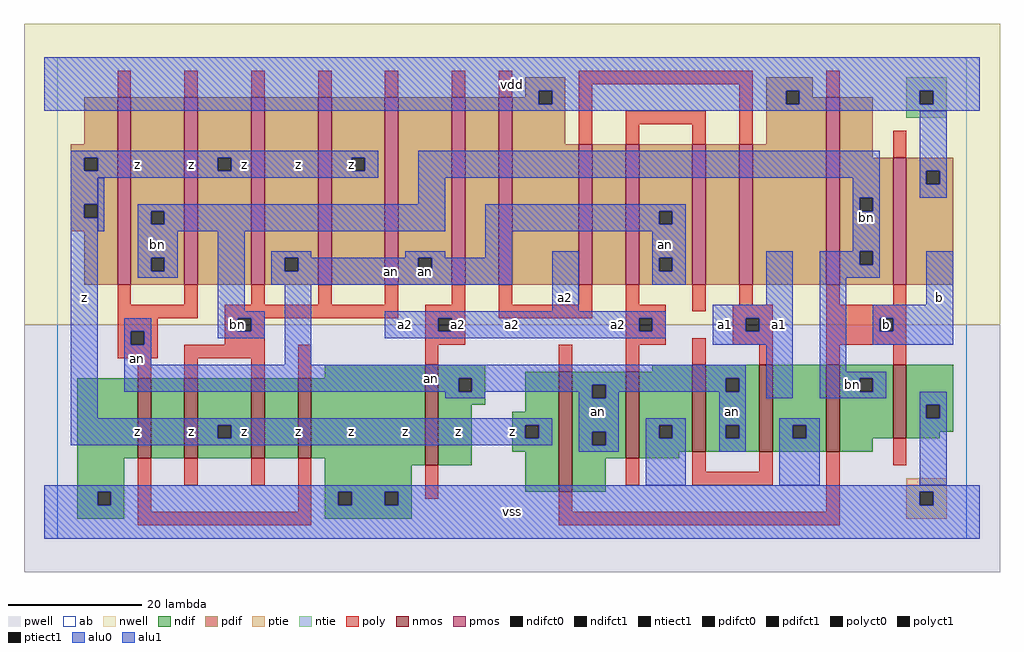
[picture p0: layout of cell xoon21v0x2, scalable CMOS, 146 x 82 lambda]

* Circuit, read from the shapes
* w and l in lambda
.subckt xoon21v0x2 a1 a2 an b bn vdd vss z
M1 n1 an vss vss nfet w=12 l=2
M2 z bn n1 vss nfet w=12 l=2
M3 n2 bn z vss nfet w=12 l=2
M4 vss an n2 vss nfet w=12 l=2
M5 an a2 vss vss nfet w=15 l=2
M6 an b z vss nfet w=18 l=2
M7 vss a2 an vss nfet w=13 l=2
M8 an a1 vss vss nfet w=13 l=2 m=2
M9 bn b vss vss nfet w=13 l=2
M10 vss b bn vss nfet w=11 l=2
M11 bn an z vdd pfet w=28 l=2 m=2
M12 an bn z vdd pfet w=28 l=2 m=3
M13 n3 a2 an vdd pfet w=28 l=2
M14 vdd a1 n3 vdd pfet w=28 l=2
M15 n4 a1 vdd vdd pfet w=21 l=2
M16 an a2 n4 vdd pfet w=21 l=2
M17 n5 a2 an vdd pfet w=21 l=2
M18 vdd a1 n5 vdd pfet w=21 l=2
M19 bn b vdd vdd pfet w=28 l=2
M20 vdd b bn vdd pfet w=19 l=2
.ends

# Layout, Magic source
magic
tech scmos
<< ab >>
rect 0 0 136 72
<< nwell >>
rect -5 32 141 77
<< pwell >>
rect -5 -5 141 32
<< poly >>
rect 9 66 11 70
rect 19 66 21 70
rect 29 66 31 70
rect 39 66 41 70
rect 49 66 51 70
rect 59 66 61 70
rect 66 66 68 70
rect 78 68 104 70
rect 78 59 80 68
rect 85 62 97 64
rect 85 59 87 62
rect 95 59 97 62
rect 102 59 104 68
rect 115 66 117 70
rect 125 57 127 61
rect 9 35 11 38
rect 19 35 21 38
rect 29 35 31 38
rect 39 35 41 38
rect 49 35 51 38
rect 59 35 61 38
rect 9 33 21 35
rect 25 33 51 35
rect 55 33 61 35
rect 66 35 68 38
rect 78 35 80 38
rect 66 33 80 35
rect 85 35 87 38
rect 85 33 91 35
rect 95 34 97 38
rect 102 35 104 38
rect 115 35 117 38
rect 125 35 127 38
rect 9 31 15 33
rect 9 29 11 31
rect 13 29 15 31
rect 25 31 27 33
rect 29 31 31 33
rect 25 29 31 31
rect 55 31 57 33
rect 59 31 61 33
rect 55 29 61 31
rect 85 31 87 33
rect 89 31 91 33
rect 85 29 91 31
rect 101 33 107 35
rect 101 31 103 33
rect 105 31 107 33
rect 9 27 15 29
rect 19 27 31 29
rect 12 24 14 27
rect 19 24 21 27
rect 29 24 31 27
rect 36 24 38 29
rect 55 26 57 29
rect 12 4 14 12
rect 19 8 21 12
rect 29 8 31 12
rect 36 4 38 12
rect 12 2 38 4
rect 75 25 77 29
rect 85 25 87 29
rect 95 26 97 30
rect 101 29 107 31
rect 105 26 107 29
rect 115 33 127 35
rect 115 31 123 33
rect 125 31 127 33
rect 115 29 127 31
rect 115 26 117 29
rect 125 26 127 29
rect 55 6 57 11
rect 85 8 87 12
rect 95 10 97 13
rect 105 10 107 13
rect 95 8 107 10
rect 75 4 77 7
rect 115 4 117 13
rect 125 11 127 15
rect 75 2 117 4
<< ndif >>
rect 40 24 55 26
rect 3 12 12 24
rect 14 12 19 24
rect 21 17 29 24
rect 21 15 24 17
rect 26 15 29 17
rect 21 12 29 15
rect 31 12 36 24
rect 38 12 55 24
rect 3 7 10 12
rect 3 5 6 7
rect 8 5 10 7
rect 3 3 10 5
rect 40 11 55 12
rect 57 24 64 26
rect 89 25 95 26
rect 57 22 60 24
rect 62 22 64 24
rect 57 20 64 22
rect 57 11 62 20
rect 70 19 75 25
rect 68 17 75 19
rect 68 15 70 17
rect 72 15 75 17
rect 68 13 75 15
rect 40 7 53 11
rect 40 5 42 7
rect 44 5 49 7
rect 51 5 53 7
rect 70 7 75 13
rect 77 23 85 25
rect 77 21 80 23
rect 82 21 85 23
rect 77 16 85 21
rect 77 14 80 16
rect 82 14 85 16
rect 77 12 85 14
rect 87 17 95 25
rect 87 15 90 17
rect 92 15 95 17
rect 87 13 95 15
rect 97 24 105 26
rect 97 22 100 24
rect 102 22 105 24
rect 97 17 105 22
rect 97 15 100 17
rect 102 15 105 17
rect 97 13 105 15
rect 107 17 115 26
rect 107 15 110 17
rect 112 15 115 17
rect 107 13 115 15
rect 117 24 125 26
rect 117 22 120 24
rect 122 22 125 24
rect 117 15 125 22
rect 127 20 134 26
rect 127 18 130 20
rect 132 18 134 20
rect 127 16 134 18
rect 127 15 132 16
rect 117 13 122 15
rect 87 12 93 13
rect 77 7 82 12
rect 40 3 53 5
<< pdif >>
rect 70 67 76 69
rect 70 66 72 67
rect 4 59 9 66
rect 2 57 9 59
rect 2 55 4 57
rect 6 55 9 57
rect 2 50 9 55
rect 2 48 4 50
rect 6 48 9 50
rect 2 46 9 48
rect 4 38 9 46
rect 11 49 19 66
rect 11 47 14 49
rect 16 47 19 49
rect 11 42 19 47
rect 11 40 14 42
rect 16 40 19 42
rect 11 38 19 40
rect 21 57 29 66
rect 21 55 24 57
rect 26 55 29 57
rect 21 38 29 55
rect 31 42 39 66
rect 31 40 34 42
rect 36 40 39 42
rect 31 38 39 40
rect 41 57 49 66
rect 41 55 44 57
rect 46 55 49 57
rect 41 38 49 55
rect 51 42 59 66
rect 51 40 54 42
rect 56 40 59 42
rect 51 38 59 40
rect 61 38 66 66
rect 68 65 72 66
rect 74 65 76 67
rect 68 59 76 65
rect 106 67 113 69
rect 106 65 109 67
rect 111 66 113 67
rect 111 65 115 66
rect 106 59 115 65
rect 68 38 78 59
rect 80 38 85 59
rect 87 49 95 59
rect 87 47 90 49
rect 92 47 95 49
rect 87 42 95 47
rect 87 40 90 42
rect 92 40 95 42
rect 87 38 95 40
rect 97 38 102 59
rect 104 38 115 59
rect 117 57 122 66
rect 117 51 125 57
rect 117 49 120 51
rect 122 49 125 51
rect 117 43 125 49
rect 117 41 120 43
rect 122 41 125 43
rect 117 38 125 41
rect 127 55 134 57
rect 127 53 130 55
rect 132 53 134 55
rect 127 38 134 53
<< alu1 >>
rect -2 67 138 72
rect -2 65 72 67
rect 74 65 109 67
rect 111 65 129 67
rect 131 65 138 67
rect -2 64 138 65
rect 2 57 48 58
rect 2 55 4 57
rect 6 55 24 57
rect 26 55 44 57
rect 46 55 48 57
rect 2 54 48 55
rect 2 50 6 54
rect 2 48 4 50
rect 2 18 6 48
rect 74 34 78 43
rect 106 35 110 43
rect 49 33 91 34
rect 49 31 57 33
rect 59 31 87 33
rect 89 31 91 33
rect 49 30 91 31
rect 98 33 110 35
rect 98 31 103 33
rect 105 31 110 33
rect 98 29 110 31
rect 2 17 74 18
rect 2 15 24 17
rect 26 15 70 17
rect 72 15 74 17
rect 2 14 74 15
rect 106 21 110 29
rect 130 35 134 43
rect 122 33 134 35
rect 122 31 123 33
rect 125 31 134 33
rect 122 29 134 31
rect -2 7 138 8
rect -2 5 6 7
rect 8 5 42 7
rect 44 5 49 7
rect 51 5 129 7
rect 131 5 138 7
rect -2 0 138 5
<< ptie >>
rect 127 7 133 9
rect 127 5 129 7
rect 131 5 133 7
rect 127 3 133 5
<< ntie >>
rect 127 67 133 69
rect 127 65 129 67
rect 131 65 133 67
rect 127 63 133 65
<< nmos >>
rect 12 12 14 24
rect 19 12 21 24
rect 29 12 31 24
rect 36 12 38 24
rect 55 11 57 26
rect 75 7 77 25
rect 85 12 87 25
rect 95 13 97 26
rect 105 13 107 26
rect 115 13 117 26
rect 125 15 127 26
<< pmos >>
rect 9 38 11 66
rect 19 38 21 66
rect 29 38 31 66
rect 39 38 41 66
rect 49 38 51 66
rect 59 38 61 66
rect 66 38 68 66
rect 78 38 80 59
rect 85 38 87 59
rect 95 38 97 59
rect 102 38 104 59
rect 115 38 117 66
rect 125 38 127 57
<< polyct0 >>
rect 11 29 13 31
rect 27 31 29 33
<< polyct1 >>
rect 57 31 59 33
rect 87 31 89 33
rect 103 31 105 33
rect 123 31 125 33
<< ndifct0 >>
rect 60 22 62 24
rect 80 21 82 23
rect 80 14 82 16
rect 90 15 92 17
rect 100 22 102 24
rect 100 15 102 17
rect 110 15 112 17
rect 120 22 122 24
rect 130 18 132 20
<< ndifct1 >>
rect 24 15 26 17
rect 6 5 8 7
rect 70 15 72 17
rect 42 5 44 7
rect 49 5 51 7
<< ntiect1 >>
rect 129 65 131 67
<< ptiect1 >>
rect 129 5 131 7
<< pdifct0 >>
rect 14 47 16 49
rect 14 40 16 42
rect 34 40 36 42
rect 54 40 56 42
rect 90 47 92 49
rect 90 40 92 42
rect 120 49 122 51
rect 120 41 122 43
rect 130 53 132 55
<< pdifct1 >>
rect 4 55 6 57
rect 4 48 6 50
rect 24 55 26 57
rect 44 55 46 57
rect 72 65 74 67
rect 109 65 111 67
<< alu0 >>
rect 54 54 123 58
rect 6 46 7 54
rect 54 50 58 54
rect 119 51 123 54
rect 129 55 133 64
rect 129 53 130 55
rect 132 53 133 55
rect 129 51 133 53
rect 12 49 58 50
rect 12 47 14 49
rect 16 47 58 49
rect 12 46 58 47
rect 64 49 94 50
rect 64 47 90 49
rect 92 47 94 49
rect 64 46 94 47
rect 12 42 18 46
rect 12 40 14 42
rect 16 40 18 42
rect 12 39 18 40
rect 24 34 28 46
rect 32 42 38 43
rect 52 42 58 43
rect 64 42 68 46
rect 32 40 34 42
rect 36 40 54 42
rect 56 40 68 42
rect 32 38 68 40
rect 24 33 31 34
rect 10 31 14 33
rect 10 29 11 31
rect 13 29 14 31
rect 24 31 27 33
rect 29 31 31 33
rect 24 30 31 31
rect 10 26 14 29
rect 34 26 38 38
rect 89 42 94 46
rect 119 49 120 51
rect 122 49 123 51
rect 119 43 123 49
rect 89 40 90 42
rect 92 40 94 42
rect 89 38 94 40
rect 10 24 103 26
rect 10 22 60 24
rect 62 23 100 24
rect 62 22 80 23
rect 58 21 64 22
rect 78 21 80 22
rect 82 22 100 23
rect 102 22 103 24
rect 82 21 84 22
rect 78 16 84 21
rect 78 14 80 16
rect 82 14 84 16
rect 78 13 84 14
rect 88 17 94 18
rect 88 15 90 17
rect 92 15 94 17
rect 88 8 94 15
rect 99 17 103 22
rect 114 41 120 43
rect 122 41 123 43
rect 114 39 123 41
rect 114 25 118 39
rect 114 24 124 25
rect 114 22 120 24
rect 122 22 124 24
rect 114 21 124 22
rect 129 20 133 22
rect 129 18 130 20
rect 132 18 133 20
rect 99 15 100 17
rect 102 15 103 17
rect 99 13 103 15
rect 108 17 114 18
rect 108 15 110 17
rect 112 15 114 17
rect 108 8 114 15
rect 129 8 133 18
<< labels >>
rlabel alu0 12 27 12 27 6 an
rlabel alu0 27 32 27 32 6 bn
rlabel alu0 15 44 15 44 6 bn
rlabel alu0 55 40 55 40 6 an
rlabel alu0 81 19 81 19 6 an
rlabel alu0 91 44 91 44 6 an
rlabel alu0 50 40 50 40 6 an
rlabel alu0 101 19 101 19 6 an
rlabel alu0 56 24 56 24 6 an
rlabel alu0 119 23 119 23 6 bn
rlabel alu0 121 48 121 48 6 bn
rlabel alu1 20 16 20 16 6 z
rlabel alu1 12 16 12 16 6 z
rlabel alu1 28 16 28 16 6 z
rlabel alu1 4 36 4 36 6 z
rlabel alu1 20 56 20 56 6 z
rlabel alu1 12 56 12 56 6 z
rlabel alu1 28 56 28 56 6 z
rlabel alu1 44 16 44 16 6 z
rlabel alu1 60 16 60 16 6 z
rlabel alu1 52 16 52 16 6 z
rlabel alu1 36 16 36 16 6 z
rlabel alu1 52 32 52 32 6 a2
rlabel alu1 60 32 60 32 6 a2
rlabel alu1 44 56 44 56 6 z
rlabel alu1 36 56 36 56 6 z
rlabel alu1 68 4 68 4 6 vss
rlabel alu1 68 16 68 16 6 z
rlabel alu1 68 32 68 32 6 a2
rlabel alu1 84 32 84 32 6 a2
rlabel alu1 100 32 100 32 6 a1
rlabel alu1 76 36 76 36 6 a2
rlabel alu1 68 68 68 68 6 vdd
rlabel polyct1 124 32 124 32 6 b
rlabel alu1 108 32 108 32 6 a1
rlabel alu1 132 36 132 36 6 b
<< end >>
